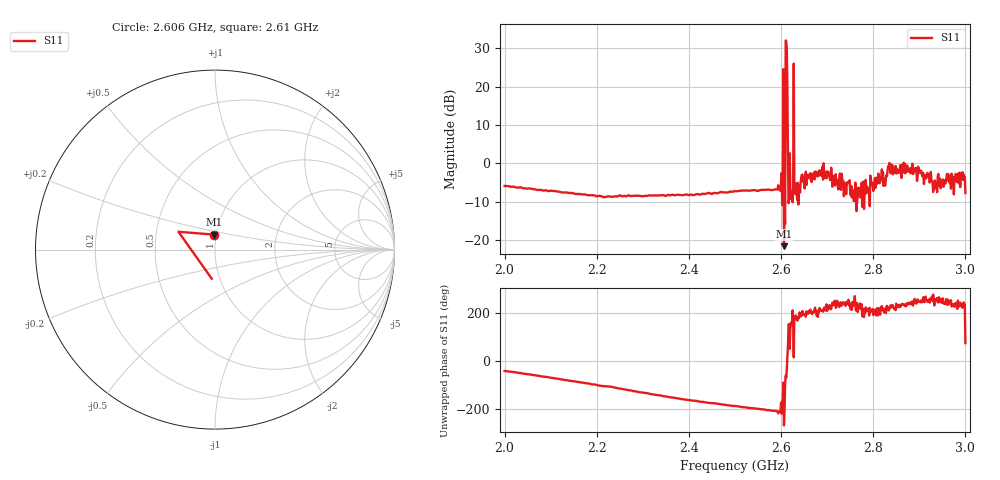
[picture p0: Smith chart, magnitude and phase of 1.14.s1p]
!Agilent Technologies,E8364A,US41440144,A.06.04.32
!Agilent E8364A: A.06.04.32
!Date: Friday, February 02, 2018 10:44:31
!Correction: S22(Full 2 Port(1,2))
!S1P File: Measurement: S22:
# Hz S  dB  R 50
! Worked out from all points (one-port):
!   801 points, 2 GHz to 3 GHz, reference 50 ohm
!   lowest |S11| = -21.6 dB at 2.606 GHz (marker M1), VSWR 1.18, Z = 48.9 + j8.21 ohm
!   |S11| at or under -10 dB: 2.602373 GHz to 2.602872 GHz (499.7 kHz wide, 0.0192 % of centre); 2.605936 GHz to 2.608901 GHz (2.964 MHz wide, 0.114 % of centre); 2.616209 GHz to 2.616698 GHz (489.2 kHz wide, 0.0187 % of centre)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
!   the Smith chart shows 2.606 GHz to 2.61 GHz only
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2e9  -5.88 -39.9
2.125e9  -7.58 -75.6
2.25e9  -8.31 -112.9
2.375e9  -8.17 -153.6
2.5e9  -7.23 174.1
2.59875e9  -7.20 150.8
2.6e9  -5.12 -171.2
2.60375e9  -7.99 -156.4
2.60625e9  -21.57 93.0
2.6075e9  -12.90 154.0
2.60875e9  -15.75 -96.4
2.61e9  32.01 -58.9
2.61125e9  31.81 -67.4
2.615e9  0.95 64.8
2.61625e9  -10.38 155.2
2.6175e9  -9.33 152.9
2.61875e9  2.62 52.5
2.62e9  -6.17 133.3
2.62125e9  -9.26 161.1
2.6225e9  -8.60 163.0
2.625e9  -10.12 -147.4
2.6325e9  -5.24 -169.2
2.63375e9  -7.23 177.3
2.75e9  -7.45 -129.4
2.805e9  -6.39 -143.5
2.875e9  -1.67 -122.9
2.99375e9  -2.30 -136.5
3e9  -7.75 76.5
